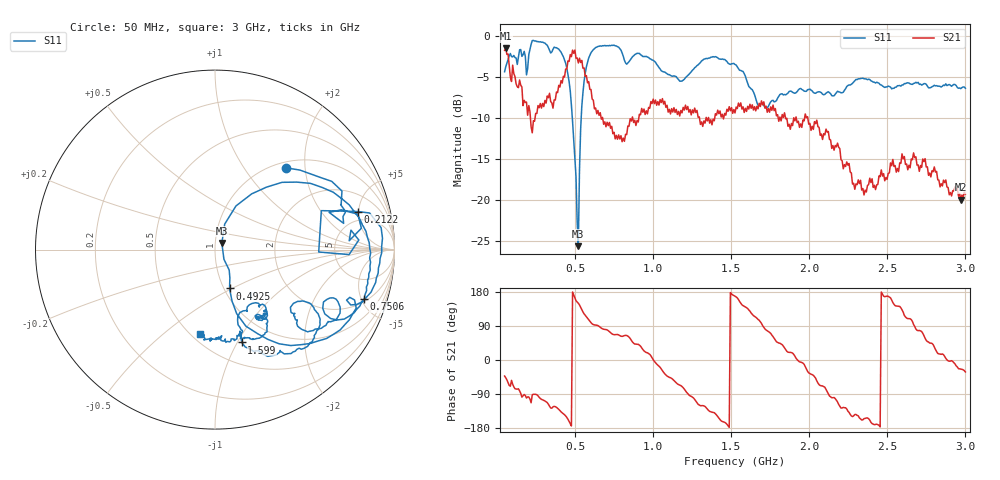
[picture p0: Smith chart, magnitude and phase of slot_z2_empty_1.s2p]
! nanovna_capture.py 2026-10-26T21:24:11+0900
! NanoVNA-F_V2 fw 0.6.0 SN 4A3639384505514B
! cal: load open short thru cal'ed  over 50000000-3000000000 Hz, 201 points
! points 401, avg 4
! slot line on >=20 mm feet, empty (no carrier)
# HZ S RI R 50
! S12 and S22 are not measured (written as 0)
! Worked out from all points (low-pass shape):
!   401 points, 50 MHz to 3 GHz, reference 50 ohm
!   highest |S21| = -1.54 dB at 57.38 MHz (marker M1); lowest = -19.9 dB at 2.97 GHz (marker M2)
!   |S21| within 3 dB of the highest: start of sweep to 84.19 MHz; 437.3 MHz to 563.3 MHz (126.1 MHz wide, 25.2 % of centre) (the widest 2 of 3)
!   lowest |S11| = -25.6 dB at 522 MHz (marker M3), VSWR 1.11, Z = 53.8 + j3.92 ohm
!   |S11| at or under -10 dB: 483.5 MHz to 540.4 MHz (56.86 MHz wide, 11.1 % of centre)
!   S12 and S22 are empty: the file has one direction only
!   S11 on the Smith chart (normalised r, x): 50 MHz: 1.11, +1.59; 212.2 MHz: 3.72, +4.95; 492.5 MHz: 1.06, -0.49; 750.6 MHz: 2.25, -5.29; 1.599 GHz: 0.72, -1.04; 3 GHz: 0.55, -0.67
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5e7  0.3967 0.4554  0.6028 -0.549  0 0  0 0
5.7375e7  0.4731 0.4431  0.5724 -0.6119  0 0  0 0
1.75375e8  0.8012 0.0535  -0.00774 -0.4047  0 0  0 0
2.1225e8  0.7982 0.2118  -0.0786 -0.3366  0 0  0 0
2.93375e8  0.8951 -0.1834  -0.1007 -0.3742  0 0  0 0
4.26125e8  0.5308 -0.5229  -0.4459 -0.3508  0 0  0 0
4.925e8  0.0811 -0.2166  -0.7734 0.1117  0 0  0 0
5.22e8  0.0382 0.0363  -0.5897 0.3441  0 0  0 0
5.44125e8  0.2045 0.3107  -0.4779 0.522  0 0  0 0
6.17875e8  0.8036 0.1762  -0.0247 0.4051  0 0  0 0
7.50625e8  0.8314 -0.2742  0.102 0.2379  0 0  0 0
1.03825e9  0.4699 -0.4348  0.3645 -0.1034  0 0  0 0
1.222625e9  0.4956 -0.2876  0.00896 -0.3714  0 0  0 0
1.525e9  0.3121 -0.5911  -0.3323 0.0696  0 0  0 0
1.59875e9  0.1489 -0.5175  -0.2584 0.2313  0 0  0 0
1.783125e9  0.2519 -0.3086  0.2203 0.2858  0 0  0 0
2.019125e9  0.2429 -0.393  0.2201 -0.1758  0 0  0 0
2.351e9  0.2333 -0.4952  -0.0975 -0.046  0 0  0 0
2.51325e9  0.1331 -0.4726  -0.1426 0.0354  0 0  0 0
2.668125e9  0.0893 -0.5049  -0.0131 0.1937  0 0  0 0
2.9705e9  -0.0636 -0.4728  0.0921 -0.0409  0 0  0 0
3e9  -0.0848 -0.4717  0.0932 -0.0571  0 0  0 0
